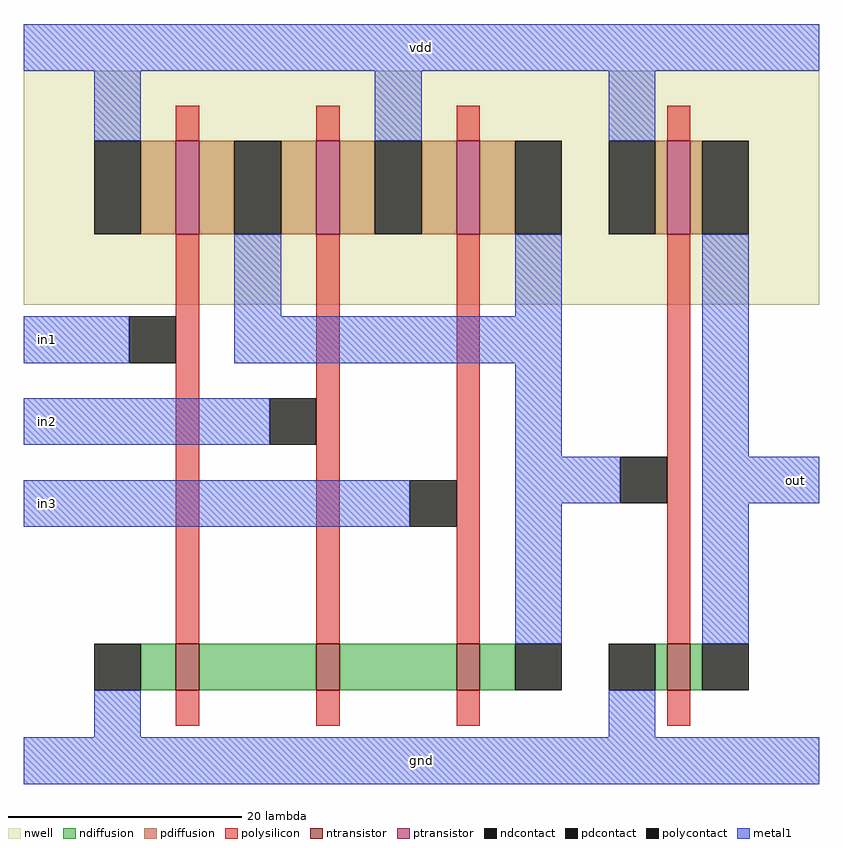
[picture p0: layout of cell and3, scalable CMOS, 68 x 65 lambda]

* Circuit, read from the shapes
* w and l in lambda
.subckt and3 gnd in1 in2 in3 out vdd
M1 n1 in1 gnd VSUBS nfet w=4 l=2
M2 n2 in2 n1 VSUBS nfet w=4 l=2
M3 n3 in3 n2 VSUBS nfet w=4 l=2
M4 out n3 gnd VSUBS nfet w=4 l=2
M5 n3 in1 vdd n4 pfet w=8 l=2
M6 vdd in2 n3 n4 pfet w=8 l=2
M7 n3 in3 vdd n4 pfet w=8 l=2
M8 out n3 vdd n4 pfet w=8 l=2
.ends

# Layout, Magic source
magic
tech scmos
<< nwell >>
rect 0 0 68 20
<< ntransistor >>
rect 13 -33 15 -29
rect 25 -33 27 -29
rect 37 -33 39 -29
rect 55 -33 57 -29
<< ptransistor >>
rect 13 6 15 14
rect 25 6 27 14
rect 37 6 39 14
rect 55 6 57 14
<< ndiffusion >>
rect 10 -33 13 -29
rect 15 -33 25 -29
rect 27 -33 37 -29
rect 39 -33 42 -29
rect 54 -33 55 -29
rect 57 -33 58 -29
<< pdiffusion >>
rect 10 6 13 14
rect 15 6 18 14
rect 22 6 25 14
rect 27 6 30 14
rect 34 6 37 14
rect 39 6 42 14
rect 54 6 55 14
rect 57 6 58 14
<< ndcontact >>
rect 6 -33 10 -29
rect 42 -33 46 -29
rect 50 -33 54 -29
rect 58 -33 62 -29
<< pdcontact >>
rect 6 6 10 14
rect 18 6 22 14
rect 30 6 34 14
rect 42 6 46 14
rect 50 6 54 14
rect 58 6 62 14
<< polysilicon >>
rect 13 14 15 17
rect 25 14 27 17
rect 37 14 39 17
rect 55 14 57 17
rect 13 -29 15 6
rect 25 -29 27 6
rect 37 -29 39 6
rect 55 -29 57 6
rect 13 -36 15 -33
rect 25 -36 27 -33
rect 37 -36 39 -33
rect 55 -36 57 -33
<< polycontact >>
rect 9 -5 13 -1
rect 21 -12 25 -8
rect 33 -19 37 -15
rect 51 -17 55 -13
<< metal1 >>
rect 0 20 68 24
rect 6 14 10 20
rect 30 14 34 20
rect 50 14 54 20
rect 18 -1 22 6
rect 42 -1 46 6
rect 0 -5 9 -1
rect 18 -5 46 -1
rect 0 -12 21 -8
rect 42 -13 46 -5
rect 58 -13 62 6
rect 0 -19 33 -15
rect 42 -17 51 -13
rect 58 -17 68 -13
rect 42 -29 46 -17
rect 58 -29 62 -17
rect 6 -37 10 -33
rect 50 -37 54 -33
rect 0 -41 68 -37
<< labels >>
rlabel metal1 0 -5 4 -1 3 in1
rlabel metal1 0 -12 4 -8 3 in2
rlabel metal1 0 -19 4 -15 3 in3
rlabel metal1 0 20 68 24 5 vdd
rlabel metal1 0 -41 68 -37 1 gnd
rlabel metal1 64 -17 68 -13 7 out
<< end >>
